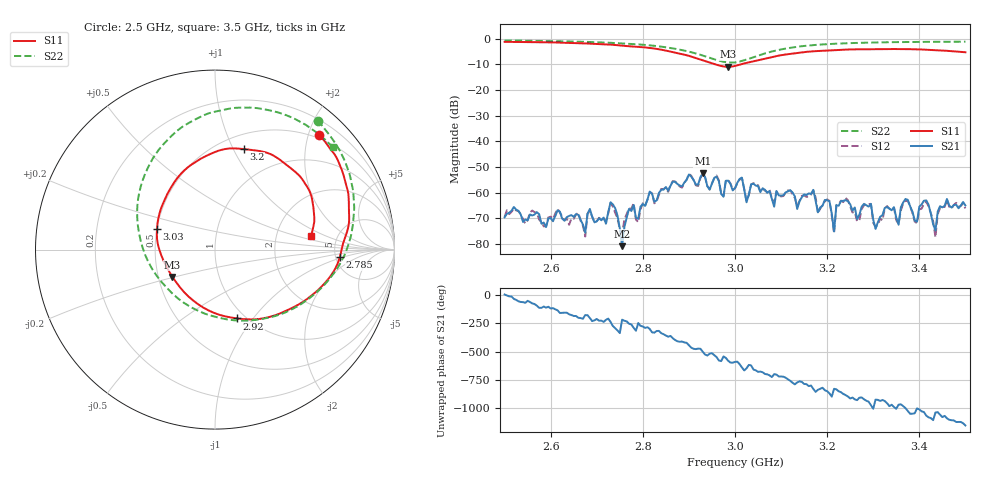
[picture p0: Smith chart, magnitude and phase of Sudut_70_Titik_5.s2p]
# Hz S RI R 50
! CMT, C1220, 16058040, 17.2.0/1
! Date: 15/08/2018 10:23:36
! Data: Format (Calibration Info)
! Freq  S11: Re/Im (F2)  S21: Re/Im (F2)  S12: Re/Im (F2)  S22: Re/Im (F2)
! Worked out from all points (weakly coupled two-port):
!   201 points, 2.5 GHz to 3.5 GHz, reference 50 ohm
!   highest |S21| = -52.49 dB at 2.93 GHz (marker M1); lowest = -80.8 dB at 2.755 GHz (marker M2)
!   lowest |S11| = -11.0 dB at 2.985 GHz (marker M3), VSWR 1.78, Z = 29.6 - j9.81 ohm
!   |S11| at or under -10 dB: 2.956 GHz to 3.013 GHz (57.01 MHz wide, 1.91 % of centre)
!   |S22| runs from -9.3 to -0.7 dB; largest |S21 - S12| = 0.00015
!   S11 on the Smith chart (normalised r, x): 2.5 GHz: 0.44, +2.19; 2.785 GHz: 5.43, -0.91; 2.92 GHz: 0.91, -0.84; 3.03 GHz: 0.50, +0.13; 3.2 GHz: 0.65, +1.10; 3.5 GHz: 3.20, +0.68
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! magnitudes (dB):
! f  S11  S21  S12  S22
! 2.5 GHz  -1.3  -69.6  -69.4  -0.7
! 2.67 GHz  -1.9  -72.4  -72.8  -1.3
! 2.73 GHz  -2.4  -63.8  -64.0  -1.7
! 2.755 GHz  -2.8  -80.8  -75.9  -1.9
! 2.77 GHz  -3.0  -66.3  -66.1  -2.0
! 2.785 GHz  -3.1  -69.8  -70.5  -2.2
! 2.835 GHz  -4.2  -60.1  -60.8  -3.0
! 2.92 GHz  -7.9  -56.8  -57.4  -6.0
! 2.93 GHz  -8.5  -52.5  -52.6  -6.6
! 2.985 GHz  -11.0  -55.3  -55.0  -9.3
! 3 GHz  -10.6  -58.2  -58.4  -9.3
! 3.03 GHz  -9.3  -60.8  -61.0  -7.9
! 3.17 GHz  -5.0  -58.9  -59.1  -2.6
! 3.2 GHz  -4.7  -63.0  -62.6  -2.2
! 3.215 GHz  -4.6  -75.1  -75.8  -2.0
! 3.24 GHz  -4.3  -62.9  -62.0  -1.8
! 3.305 GHz  -4.2  -74.1  -73.2  -1.5
! 3.335 GHz  -4.1  -66.2  -66.3  -1.4
! 3.415 GHz  -4.4  -63.0  -63.4  -1.3
! 3.435 GHz  -4.6  -74.7  -77.4  -1.3
! 3.46 GHz  -4.8  -62.5  -62.7  -1.2
! 3.5 GHz  -5.3  -65.0  -66.1  -1.2
